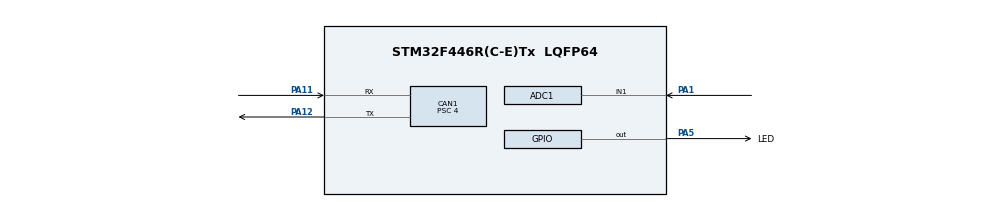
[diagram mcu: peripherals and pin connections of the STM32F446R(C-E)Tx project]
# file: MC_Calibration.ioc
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ADC1.Channel-0\#ChannelRegularConversion=ADC_CHANNEL_1
ADC1.ContinuousConvMode=ENABLE
ADC1.DMAContinuousRequests=ENABLE
ADC1.NbrOfConversionFlag=1
ADC1.Rank-0\#ChannelRegularConversion=1
ADC1.SamplingTime-0\#ChannelRegularConversion=ADC_SAMPLETIME_3CYCLES
ADC1.master=1
CAN1.BS1=CAN_BS1_6TQ
CAN1.CalculateBaudRate=500000
CAN1.CalculateTimeBit=2000
CAN1.CalculateTimeQuantum=250.0
CAN1.Prescaler=4
Dma.ADC1.0.Direction=DMA_PERIPH_TO_MEMORY
Dma.ADC1.0.FIFOMode=DMA_FIFOMODE_DISABLE
Dma.ADC1.0.Instance=DMA2_Stream0
Dma.ADC1.0.MemDataAlignment=DMA_MDATAALIGN_WORD
Dma.ADC1.0.MemInc=DMA_MINC_ENABLE
Dma.ADC1.0.Mode=DMA_CIRCULAR
Dma.ADC1.0.PeriphDataAlignment=DMA_PDATAALIGN_WORD
Dma.ADC1.0.PeriphInc=DMA_PINC_DISABLE
Dma.ADC1.0.Priority=DMA_PRIORITY_LOW
Dma.Request0=ADC1
Mcu.Family=STM32F4
Mcu.Name=STM32F446R(C-E)Tx
Mcu.Package=LQFP64
NVIC.ADC_IRQn=true\:0\:0\:false\:false\:true\:true\:true\:true
NVIC.DMA2_Stream0_IRQn=true\:0\:0\:false\:false\:true\:false\:true\:true
NVIC.PriorityGroup=NVIC_PRIORITYGROUP_4
PA1.Signal=ADCx_IN1
PA11.Mode=CAN_Activate
PA11.Signal=CAN1_RX
PA12.Mode=CAN_Activate
PA12.Signal=CAN1_TX
PA5.GPIO_Label=LED
PA5.Signal=GPIO_Output
ProjectManager.HeapSize=0x200
ProjectManager.StackSize=0x400
ProjectManager.TargetToolchain=STM32CubeIDE
RCC.CortexFreq_Value=16000000
RCC.USBFreq_Value=96000000
RCC.VCOOutputFreq_Value=192000000
SH.ADCx_IN1.0=ADC1_IN1,IN1
board=custom

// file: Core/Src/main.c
/* USER CODE BEGIN Header */
/**
  ******************************************************************************
  * @file           : main.c
  * @brief          : Main program body
  ******************************************************************************
  * @attention
  *
  * Copyright (c) 2024 STMicroelectronics.
  * All rights reserved.
  *
  * This software is licensed under terms that can be found in the LICENSE file
  * in the root directory of this software component.
  * If no LICENSE file comes with this software, it is provided AS-IS.
  *
  ******************************************************************************
  */
/* USER CODE END Header */
#include "main.h"

ADC_HandleTypeDef hadc1;
DMA_HandleTypeDef hdma_adc1;

CAN_HandleTypeDef hcan1;

void SystemClock_Config(void);
static void MX_GPIO_Init(void);
static void MX_DMA_Init(void);
static void MX_ADC1_Init(void);
static void MX_CAN1_Init(void);

/* USER CODE BEGIN 0 */
uint32_t adc_val = 0;
int failed = 0;

/* USER CODE END 0 */

int main(void)
{

  /* MCU Configuration--------------------------------------------------------*/

  /* Reset of all peripherals, Initializes the Flash interface and the Systick. */
  HAL_Init();

  /* Configure the system clock */
  SystemClock_Config();

  /* Initialize all configured peripherals */
  MX_GPIO_Init();
  MX_DMA_Init();
  MX_ADC1_Init();
  MX_CAN1_Init();
  /* USER CODE BEGIN 2 */
  //HAL_ADC_Start_IT (&hadc1); // start the ADC interrupt
  HAL_CAN_Start(&hcan1);
  HAL_ADC_Start_DMA(&hadc1, &adc_val, 2);

  /* USER CODE END 2 */

  /* Infinite loop */
  while (1)
  {

  }
}

void SystemClock_Config(void)
{
  RCC_OscInitTypeDef RCC_OscInitStruct = {0};
  RCC_ClkInitTypeDef RCC_ClkInitStruct = {0};

  /** Configure the main internal regulator output voltage
  */
  __HAL_RCC_PWR_CLK_ENABLE();
  __HAL_PWR_VOLTAGESCALING_CONFIG(PWR_REGULATOR_VOLTAGE_SCALE3);

  /** Initializes the RCC Oscillators according to the specified parameters
  * in the RCC_OscInitTypeDef structure.
  */
  RCC_OscInitStruct.OscillatorType = RCC_OSCILLATORTYPE_HSI;
  RCC_OscInitStruct.HSIState = RCC_HSI_ON;
  RCC_OscInitStruct.HSICalibrationValue = RCC_HSICALIBRATION_DEFAULT;
  RCC_OscInitStruct.PLL.PLLState = RCC_PLL_NONE;
  if (HAL_RCC_OscConfig(&RCC_OscInitStruct) != HAL_OK)
  {
    Error_Handler();
  }

  /** Initializes the CPU, AHB and APB buses clocks
  */
  RCC_ClkInitStruct.ClockType = RCC_CLOCKTYPE_HCLK|RCC_CLOCKTYPE_SYSCLK
                              |RCC_CLOCKTYPE_PCLK1|RCC_CLOCKTYPE_PCLK2;
  RCC_ClkInitStruct.SYSCLKSource = RCC_SYSCLKSOURCE_HSI;
  RCC_ClkInitStruct.AHBCLKDivider = RCC_SYSCLK_DIV1;
  RCC_ClkInitStruct.APB1CLKDivider = RCC_HCLK_DIV1;
  RCC_ClkInitStruct.APB2CLKDivider = RCC_HCLK_DIV1;

  if (HAL_RCC_ClockConfig(&RCC_ClkInitStruct, FLASH_LATENCY_0) != HAL_OK)
  {
    Error_Handler();
  }
}

static void MX_ADC1_Init(void)
{

  ADC_ChannelConfTypeDef sConfig = {0};

  /** Configure the global features of the ADC (Clock, Resolution, Data Alignment and number of conversion)
  */
  hadc1.Instance = ADC1;
  hadc1.Init.ClockPrescaler = ADC_CLOCK_SYNC_PCLK_DIV2;
  hadc1.Init.Resolution = ADC_RESOLUTION_12B;
  hadc1.Init.ScanConvMode = DISABLE;
  hadc1.Init.ContinuousConvMode = ENABLE;
  hadc1.Init.DiscontinuousConvMode = DISABLE;
  hadc1.Init.ExternalTrigConvEdge = ADC_EXTERNALTRIGCONVEDGE_NONE;
  hadc1.Init.ExternalTrigConv = ADC_SOFTWARE_START;
  hadc1.Init.DataAlign = ADC_DATAALIGN_RIGHT;
  hadc1.Init.NbrOfConversion = 1;
  hadc1.Init.DMAContinuousRequests = ENABLE;
  hadc1.Init.EOCSelection = ADC_EOC_SINGLE_CONV;
  if (HAL_ADC_Init(&hadc1) != HAL_OK)
  {
    Error_Handler();
  }

  /** Configure for the selected ADC regular channel its corresponding rank in the sequencer and its sample time.
  */
  sConfig.Channel = ADC_CHANNEL_1;
  sConfig.Rank = 1;
  sConfig.SamplingTime = ADC_SAMPLETIME_3CYCLES;
  if (HAL_ADC_ConfigChannel(&hadc1, &sConfig) != HAL_OK)
  {
    Error_Handler();
  }

}

static void MX_CAN1_Init(void)
{

  hcan1.Instance = CAN1;
  hcan1.Init.Prescaler = 4;
  hcan1.Init.Mode = CAN_MODE_NORMAL;
  hcan1.Init.SyncJumpWidth = CAN_SJW_1TQ;
  hcan1.Init.TimeSeg1 = CAN_BS1_6TQ;
  hcan1.Init.TimeSeg2 = CAN_BS2_1TQ;
  hcan1.Init.TimeTriggeredMode = DISABLE;
  hcan1.Init.AutoBusOff = DISABLE;
  hcan1.Init.AutoWakeUp = DISABLE;
  hcan1.Init.AutoRetransmission = DISABLE;
  hcan1.Init.ReceiveFifoLocked = DISABLE;
  hcan1.Init.TransmitFifoPriority = DISABLE;
  if (HAL_CAN_Init(&hcan1) != HAL_OK)
  {
    Error_Handler();
  }

}

static void MX_DMA_Init(void)
{

  /* DMA controller clock enable */
  __HAL_RCC_DMA2_CLK_ENABLE();

  /* DMA interrupt init */
  /* DMA2_Stream0_IRQn interrupt configuration */
  HAL_NVIC_SetPriority(DMA2_Stream0_IRQn, 0, 0);
  HAL_NVIC_EnableIRQ(DMA2_Stream0_IRQn);

}

static void MX_GPIO_Init(void)
{
  GPIO_InitTypeDef GPIO_InitStruct = {0};

  /* GPIO Ports Clock Enable */
  __HAL_RCC_GPIOA_CLK_ENABLE();

  /*Configure GPIO pin Output Level */
  HAL_GPIO_WritePin(LED_GPIO_Port, LED_Pin, GPIO_PIN_RESET);

  /*Configure GPIO pin : LED_Pin */
  GPIO_InitStruct.Pin = LED_Pin;
  GPIO_InitStruct.Mode = GPIO_MODE_OUTPUT_PP;
  GPIO_InitStruct.Pull = GPIO_NOPULL;
  GPIO_InitStruct.Speed = GPIO_SPEED_FREQ_LOW;
  HAL_GPIO_Init(LED_GPIO_Port, &GPIO_InitStruct);

}

/* USER CODE BEGIN 4 */

void HAL_ADC_ConvCpltCallback(ADC_HandleTypeDef* hadc){
	  CAN_TxHeaderTypeDef transmitHeader = {
		  .StdId = 0x110,
		  .IDE = CAN_ID_STD,
		  .RTR = CAN_RTR_DATA,
		  .DLC = 8
	  };
	  uint8_t transmitData[8] = {0};
	  transmitData[0] = (uint8_t)((adc_val) & 0x000000FF);
	  transmitData[1] = (uint8_t)(((adc_val) & 0x0000FF00) >> 8);
	  uint32_t mailbox;
	  if(HAL_CAN_AddTxMessage(&hcan1, &transmitHeader, transmitData, &mailbox) != HAL_OK){
		  failed = 1;
	  }
	  else{
		  failed = 0;
	  }
}

/* USER CODE END 4 */

void Error_Handler(void)
{
  __disable_irq();
  while (1)
  {
  }
}
